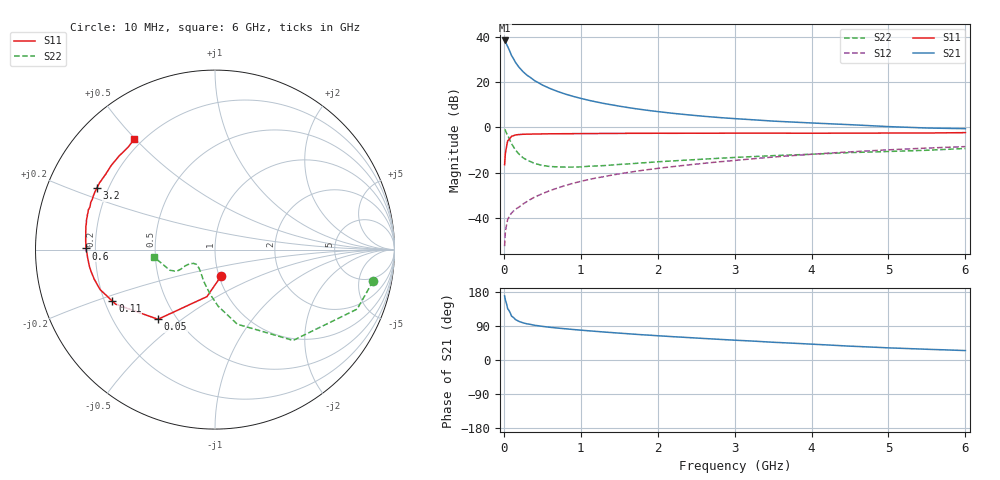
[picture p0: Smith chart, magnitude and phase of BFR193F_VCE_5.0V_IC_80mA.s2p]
! (c) 2017  Infineon Technologies AG, Munich
! Infineon Technologies  Discrete & RF Semiconductors
! BFR193F
! VCE =  5.0 V,  IC =  80 mA
! Common Emitter S-Parameters:  Jan 2017
# GHz  S  MA  R  50
!  f  S11  S21  S12  S22
! GHz  MAG  ANG  MAG  ANG  MAG  ANG  MAG  ANG
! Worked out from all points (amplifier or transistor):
!   77 points, 10 MHz to 6 GHz, reference 50 ohm
!   highest |S21| = 38.3 dB at 10 MHz (marker M1)
!   |S21| within 3 dB of that: start of sweep to 53.96 MHz
!   unconditionally stable (mu >= 1): 608.5 MHz to 2.575 GHz
!   at 130 MHz: K = 0.60, MSG = 33.4 dB, |S12| = -36.8 dB
!   at 2.2 GHz: K = 1.02, MAG = 10.9 dB, |S12| = -17.3 dB
!   at 6 GHz: K = 0.86, MSG = 3.9 dB, |S12| = -8.5 dB
!   S11 on the Smith chart (normalised r, x): 10 MHz: 1.03, -0.31; 50 MHz: 0.40, -0.41; 110 MHz: 0.23, -0.23; 600 MHz: 0.16, +0.00; 3.2 GHz: 0.16, +0.24; 6 GHz: 0.17, +0.50
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0.01  0.1498 -76.4  81.89 169.2  0.0024 84.6  0.898 -11.3
0.02  0.2658 -99.7  78.14 158.4  0.005 78.1  0.8585 -22.7
0.05  0.5016 -129.3  59.88 135.2  0.0093 59.4  0.6676 -49.3
0.1  0.6321 -151.3  38.16 115.8  0.0129 56.6  0.4339 -73.3
0.11  0.6398 -153.3  35.89 114.5  0.0134 56.1  0.409 -75.4
0.15  0.6777 -160.8  27.09 106.9  0.0156 54.4  0.3166 -86.7
0.2  0.6923 -166.1  20.77 101.5  0.0176 57.8  0.2545 -95.4
0.25  0.7014 -170.0  16.77 98.1  0.0204 61.2  0.2129 -103.0
0.3  0.7057 -172.3  14.09 95.5  0.0231 63.4  0.19 -108.8
0.4  0.7106 -176.0  10.64 91.5  0.0289 67.1  0.1596 -118.0
0.5  0.7141 -178.5  8.555 88.8  0.0344 69.8  0.1445 -125.0
0.6  0.719 179.5  7.159 86.3  0.0403 71.7  0.1365 -130.7
0.7  0.7198 177.4  6.151 84.2  0.0459 73.4  0.1341 -135.0
0.8  0.7222 176.2  5.386 82.4  0.0522 73.9  0.1327 -138.9
1.1  0.7272 172.0  3.946 77.1  0.0704 75.3  0.1382 -144.9
1.5  0.7338 167.5  2.923 70.9  0.0942 76.0  0.1519 -149.4
2.1  0.7379 161.9  2.123 62.8  0.1301 75.3  0.1776 -151.2
3.1  0.7421 153.4  1.514 51.3  0.1927 72.9  0.2204 -150.2
3.2  0.7421 152.6  1.477 50.3  0.1996 72.5  0.2246 -150.3
4.1  0.7403 144.6  1.223 40.8  0.2609 68.3  0.2591 -152.7
5.1  0.7464 134.6  1.02 31.3  0.3243 62.3  0.2965 -162.6
6  0.7626 126.1  0.932 24.9  0.3754 56.7  0.3413 -172.6
